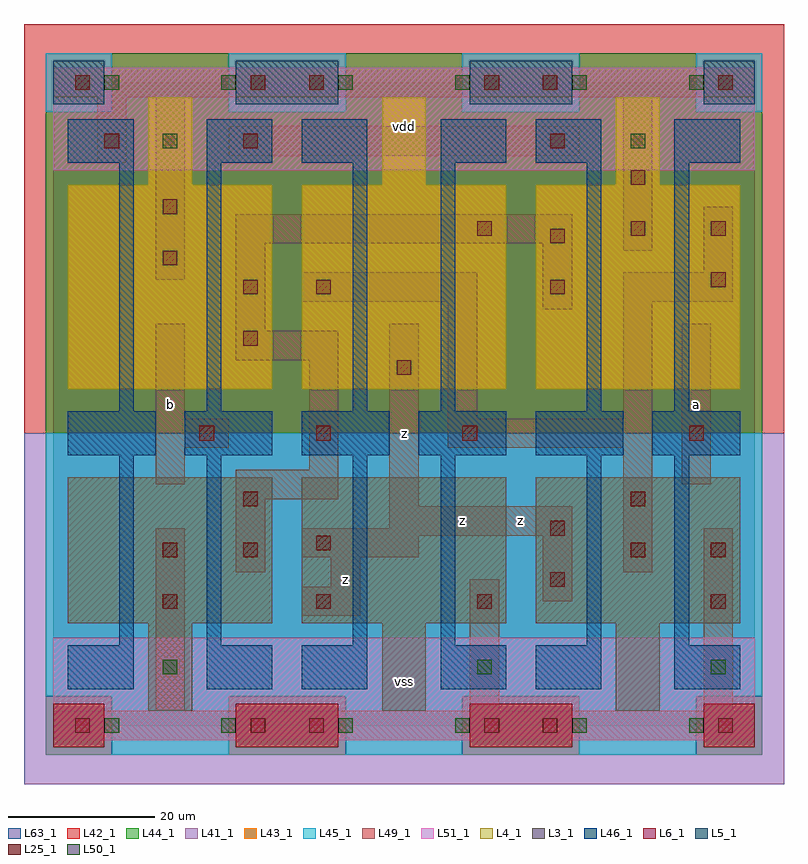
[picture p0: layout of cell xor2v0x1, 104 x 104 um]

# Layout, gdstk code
import gdstk
lib = gdstk.Library(unit=1e-6, precision=1e-09)
def R(c, l, rs):  # rectangles x0, y0, x1, y1
    for r in rs: c.add(gdstk.rectangle(r[:2], r[2:], *l))
def A(c, l, x, y, w, h, nx, ny, dx, dy):  # array of equal rectangles
    R(c, l, [(x+i*dx, y+j*dy, x+i*dx+w, y+j*dy+h) for i in range(nx) for j in range(ny)])
L3_1 = (3, 1)
L4_1 = (4, 1)
L5_1 = (5, 1)
L6_1 = (6, 1)
L25_1 = (25, 1)
L41_1 = (41, 1)
L42_1 = (42, 1)
L43_1 = (43, 1)
L44_1 = (44, 1)
L45_1 = (45, 1)
L46_1 = (46, 1)
L49_1 = (49, 1)
L50_1 = (50, 1)
L51_1 = (51, 1)
L63_1 = (63, 1)

xor2v0x1 = lib.new_cell('xor2v0x1')
A(xor2v0x1, L3_1, 13, 2, 6, 12, 3, 1, 32, 0)
A(xor2v0x1, L3_1, 2, 14, 28, 20, 3, 1, 32, 0)
A(xor2v0x1, L4_1, 2, 46, 28, 28, 3, 1, 32, 0)
A(xor2v0x1, L4_1, 13, 74, 6, 12, 3, 1, 32, 0)
R(xor2v0x1, L5_1, [(0,85,7,91), (25,85,39,91), (57,85,71,91), (89,85,96,91)])
R(xor2v0x1, L6_1, [(0,-3,7,3), (0,-3,7,3), (25,-3,39,3), (25,-3,39,3), (57,-3,71,3), (57,-3,71,3), (89,-3,96,3), (89,-3,96,3)])
R(xor2v0x1, L25_1, [(3,-1,5,1), (27,-1,29,1), (35,-1,37,1), (59,-1,61,1), (67,-1,69,1), (91,-1,93,1), (15,16,17,18), (36,16,38,18), (58,16,60,18), (90,16,92,18), (68,19,70,21), (15,23,17,25), (26,23,28,25), (79,23,81,25), (90,23,92,25), (36,24,38,26), (68,26,70,28), (26,30,28,32), (79,30,81,32), (20,39,22,41), (36,39,38,41), (56,39,58,41), (87,39,89,41), (47,48,49,50), (26,52,28,54), (26,59,28,61), (36,59,38,61), (68,59,70,61), (90,60,92,62), (15,63,17,65), (68,66,70,68), (58,67,60,69), (79,67,81,69), (90,67,92,69), (15,70,17,72), (79,74,81,76), (7,79,9,81), (26,79,28,81), (68,79,70,81), (3,87,5,89), (27,87,29,89), (35,87,37,89), (59,87,61,89), (67,87,69,89), (91,87,93,89)])
R(xor2v0x1, L41_1, [(-4,-8,100,40)])
R(xor2v0x1, L42_1, [(-4,40,100,96)])
A(xor2v0x1, L43_1, 13, 2, 6, 12, 3, 2, 32, 72)
A(xor2v0x1, L43_1, 2, 14, 28, 20, 3, 1, 32, 0)
A(xor2v0x1, L43_1, 2, 46, 28, 28, 3, 1, 32, 0)
R(xor2v0x1, L43_1, [(0,-3,7,3), (25,-3,39,3), (57,-3,71,3), (89,-3,96,3), (0,85,7,91), (25,85,39,91), (57,85,71,91), (89,85,96,91)])
A(xor2v0x1, L44_1, 8, 84, 16, 8, 3, 1, 32, 0)
R(xor2v0x1, L44_1, [(-1,-4,8,4), (24,-4,40,4), (56,-4,72,4), (88,-4,97,4), (-1,40,97,84)])
A(xor2v0x1, L45_1, 8, -4, 16, 8, 3, 1, 32, 0)
R(xor2v0x1, L45_1, [(-1,4,97,40), (-1,84,8,92), (24,84,40,92), (56,84,72,92), (88,84,97,92)])
A(xor2v0x1, L46_1, 2, 37, 12, 6, 6, 1, 16, 0)
R(xor2v0x1, L46_1, [(2,5,11,11), (21,5,30,11), (34,5,43,11), (53,5,62,11), (66,5,75,11), (85,5,94,11), (9,11,11,37), (21,11,23,37), (41,11,43,37), (53,11,55,37), (73,11,75,37), (85,11,87,37), (9,43,11,77), (21,43,23,77), (41,43,43,77), (53,43,55,77), (73,43,75,77), (85,43,87,77), (2,77,11,83), (21,77,30,83), (34,77,43,83), (53,77,62,83), (66,77,75,83), (85,77,94,83)])
R(xor2v0x1, L49_1, [(0,-2,96,2), (14,2,18,27), (57,2,61,20), (89,2,93,27), (34,15,42,19), (67,17,71,26), (38,19,42,23), (25,21,29,31), (78,21,82,38), (34,23,50,26), (34,26,71,27), (46,27,71,30), (46,30,50,55), (25,31,39,35), (14,33,18,38), (86,33,90,55), (35,35,39,50), (14,38,24,42), (54,38,82,42), (14,42,18,55), (54,42,58,58), (78,42,82,58), (25,50,39,54), (25,54,29,66), (67,57,71,66), (34,58,58,62), (78,58,93,62), (14,61,18,86), (89,62,93,71), (78,65,82,86), (25,66,71,70), (6,77,10,86), (24,78,72,82), (0,86,96,90)])
A(xor2v0x1, L50_1, 7, -1, 2, 2, 6, 2, 16, 88)
R(xor2v0x1, L50_1, [(15,7,17,9), (58,7,60,9), (90,7,92,9), (15,79,17,81), (79,79,81,81)])
R(xor2v0x1, L51_1, [(0,-2,96,12), (0,76,96,90)])
R(xor2v0x1, L63_1, [(0,0,96,88)])
xor2v0x1.add(gdstk.Label('b', (16,44), layer=49, texttype=1))
xor2v0x1.add(gdstk.Label('z', (40,20), layer=49, texttype=1))
xor2v0x1.add(gdstk.Label('z', (56,28), layer=49, texttype=1))
xor2v0x1.add(gdstk.Label('z', (48,40), layer=49, texttype=1))
xor2v0x1.add(gdstk.Label('z', (64,28), layer=49, texttype=1))
xor2v0x1.add(gdstk.Label('a', (88,44), layer=49, texttype=1))
xor2v0x1.add(gdstk.Label('vss', (48,6), layer=51, texttype=1))
xor2v0x1.add(gdstk.Label('vdd', (48,82), layer=51, texttype=1))

lib.write_gds('xor2v0x1.gds')
